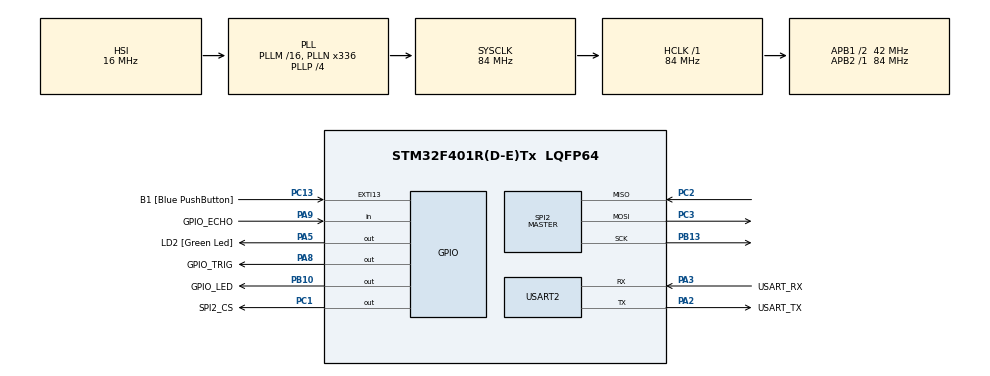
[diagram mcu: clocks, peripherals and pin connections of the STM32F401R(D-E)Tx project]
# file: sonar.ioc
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Mcu.Family=STM32F4
Mcu.Name=STM32F401R(D-E)Tx
Mcu.Package=LQFP64
NVIC.PriorityGroup=NVIC_PRIORITYGROUP_0
PA13.GPIO_Label=TMS
PA13.Mode=Serial_Wire
PA13.Signal=SYS_JTMS-SWDIO
PA14.GPIO_Label=TCK
PA14.Mode=Serial_Wire
PA14.Signal=SYS_JTCK-SWCLK
PA2.GPIO_Label=USART_TX
PA2.GPIO_Mode=GPIO_MODE_AF_PP
PA2.GPIO_PuPd=GPIO_NOPULL
PA2.GPIO_Speed=GPIO_SPEED_FREQ_LOW
PA2.Mode=Asynchronous
PA2.Signal=USART2_TX
PA3.GPIO_Label=USART_RX
PA3.GPIO_Mode=GPIO_MODE_AF_PP
PA3.GPIO_PuPd=GPIO_NOPULL
PA3.GPIO_Speed=GPIO_SPEED_FREQ_LOW
PA3.Mode=Asynchronous
PA3.Signal=USART2_RX
PA5.GPIO_Label=LD2 [Green Led]
PA5.GPIO_Mode=GPIO_MODE_OUTPUT_PP
PA5.GPIO_PuPd=GPIO_NOPULL
PA5.GPIO_Speed=GPIO_SPEED_FREQ_LOW
PA5.Signal=GPIO_Output
PA8.GPIO_Label=GPIO_TRIG
PA8.Signal=GPIO_Output
PA9.GPIO_Label=GPIO_ECHO
PA9.Signal=GPIO_Input
PB10.GPIO_Label=GPIO_LED
PB10.Signal=GPIO_Output
PB13.Mode=Full_Duplex_Master
PB13.Signal=SPI2_SCK
PB3.GPIO_Label=SWO
PB3.Signal=SYS_JTDO-SWO
PC1.GPIO_Label=SPI2_CS
PC1.GPIO_PuPd=GPIO_PULLUP
PC1.Signal=GPIO_Output
PC13-ANTI_TAMP.GPIO_Label=B1 [Blue PushButton]
PC13-ANTI_TAMP.GPIO_ModeDefaultEXTI=GPIO_MODE_IT_FALLING
PC13-ANTI_TAMP.GPIO_PuPd=GPIO_NOPULL
PC13-ANTI_TAMP.Signal=GPXTI13
PC14-OSC32_IN.Mode=LSE-External-Oscillator
PC14-OSC32_IN.Signal=RCC_OSC32_IN
PC15-OSC32_OUT.Mode=LSE-External-Oscillator
PC15-OSC32_OUT.Signal=RCC_OSC32_OUT
PC2.Mode=Full_Duplex_Master
PC2.Signal=SPI2_MISO
PC3.Mode=Full_Duplex_Master
PC3.Signal=SPI2_MOSI
PH0\ -\ OSC_IN.Mode=HSE-External-Clock-Source
PH0\ -\ OSC_IN.Signal=RCC_OSC_IN
PH1\ -\ OSC_OUT.Mode=HSE-External-Clock-Source
PH1\ -\ OSC_OUT.Signal=RCC_OSC_OUT
ProjectManager.HeapSize=0x200
ProjectManager.StackSize=0x400
ProjectManager.TargetToolchain=STM32CubeIDE
RCC.48MHZClocksFreq_Value=48000000
RCC.AHBFreq_Value=84000000
RCC.APB1CLKDivider=RCC_HCLK_DIV2
RCC.APB1Freq_Value=42000000
RCC.APB1TimFreq_Value=84000000
RCC.APB2Freq_Value=84000000
RCC.APB2TimFreq_Value=84000000
RCC.CortexFreq_Value=84000000
RCC.HCLKFreq_Value=84000000
RCC.HSE_VALUE=8000000
RCC.HSI_VALUE=16000000
RCC.PLLN=336
RCC.PLLP=RCC_PLLP_DIV4
RCC.PLLQ=7
RCC.SYSCLKFreq_VALUE=84000000
RCC.SYSCLKSource=RCC_SYSCLKSOURCE_PLLCLK
RCC.VCOOutputFreq_Value=336000000
SPI2.BaudRatePrescaler=SPI_BAUDRATEPRESCALER_32
SPI2.CLKPhase=SPI_PHASE_2EDGE
SPI2.CLKPolarity=SPI_POLARITY_HIGH
SPI2.Direction=SPI_DIRECTION_2LINES
SPI2.Mode=SPI_MODE_MASTER
SPI2.VirtualType=VM_MASTER
TIM1.Prescaler=83
USART2.VirtualMode=VM_ASYNC
VP_TIM1_VS_ClockSourceINT.Mode=Internal
board=NUCLEO-F401RE

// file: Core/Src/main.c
/* USER CODE BEGIN Header */
/**
  ******************************************************************************
  * @file           : main.c
  * @brief          : Main program body
  ******************************************************************************
  * @attention
  *
  * Copyright (c) 2022 STMicroelectronics.
  * All rights reserved.
  *
  * This software is licensed under terms that can be found in the LICENSE file
  * in the root directory of this software component.
  * If no LICENSE file comes with this software, it is provided AS-IS.
  *
  ******************************************************************************
  */
/* USER CODE END Header */
#include "main.h"

SPI_HandleTypeDef hspi2;

TIM_HandleTypeDef htim1;

UART_HandleTypeDef huart2;

void SystemClock_Config(void);
static void MX_GPIO_Init(void);
static void MX_USART2_UART_Init(void);
static void MX_TIM1_Init(void);
static void MX_SPI2_Init(void);

/* USER CODE BEGIN 0 */
void Print(char* msg)
{
	 HAL_UART_Transmit(&huart2, (const uint8_t *)msg, strlen(msg), 10);

}
/* USER CODE END 0 */

int main(void)
{
  /* USER CODE BEGIN 1 */
#define TRIG_PIN GPIO_TRIG_Pin
#define TRIG_PORT GPIOA
#define ECHO_PIN GPIO_ECHO_Pin
#define ECHO_PORT GPIO_ECHO_GPIO_Port
uint32_t pMillis;
uint32_t Value1 = 0;
uint32_t Value2 = 0;
uint16_t Distance = 0;  // cm
uint16_t led = 0xffff;  // cm

  /* USER CODE END 1 */

  /* MCU Configuration--------------------------------------------------------*/

  /* Reset of all peripherals, Initializes the Flash interface and the Systick. */
  HAL_Init();

  /* Configure the system clock */
  SystemClock_Config();

  /* Initialize all configured peripherals */
  MX_GPIO_Init();
  MX_USART2_UART_Init();
  MX_TIM1_Init();
  MX_SPI2_Init();
  /* USER CODE BEGIN 2 */
  char msg[64] = "here is jon's sonar\r\n";
  Print(msg);

  HAL_TIM_Base_Start(&htim1);
  HAL_GPIO_WritePin(TRIG_PORT, TRIG_PIN, GPIO_PIN_RESET);

  /* USER CODE END 2 */

  /* Infinite loop */
  /* USER CODE BEGIN WHILE */
  while (1)
  {
	  HAL_GPIO_WritePin(TRIG_PORT, TRIG_PIN, GPIO_PIN_SET);  // pull the TRIG pin HIGH
	  __HAL_TIM_SET_COUNTER(&htim1, 0);
	  while (__HAL_TIM_GET_COUNTER (&htim1) < 10);  // wait for 10 us
	  HAL_GPIO_WritePin(TRIG_PORT, TRIG_PIN, GPIO_PIN_RESET);  // pull the TRIG pin low

	  pMillis = HAL_GetTick(); // used this to avoid infinite while loop  (for timeout)
	  // wait for the echo pin to go high
	  while (!(HAL_GPIO_ReadPin (ECHO_PORT, ECHO_PIN)) && pMillis + 10 >  HAL_GetTick());
	  Value1 = __HAL_TIM_GET_COUNTER (&htim1);

	  pMillis = HAL_GetTick(); // used this to avoid infinite while loop (for timeout)
	  // wait for the echo pin to go low
	  while ((HAL_GPIO_ReadPin (ECHO_PORT, ECHO_PIN)) && pMillis + 50 > HAL_GetTick());
	  Value2 = __HAL_TIM_GET_COUNTER (&htim1);

	  Distance = (Value2-Value1)* 0.034/2;
	  sprintf(msg, "Distance: %d\r\n", Distance);
	  Print(msg);
	  HAL_Delay(50);

	  if (Distance < 20){
		  HAL_GPIO_WritePin(SPI2_CS_GPIO_Port, SPI2_CS_Pin, GPIO_PIN_RESET);
		  led = 0xffff/2;
		  HAL_SPI_Transmit(&hspi2, &led, 2, 100);
		  HAL_GPIO_WritePin(SPI2_CS_GPIO_Port, SPI2_CS_Pin, GPIO_PIN_SET);
	  }
	  else{
		  HAL_GPIO_WritePin(SPI2_CS_GPIO_Port, SPI2_CS_Pin, GPIO_PIN_RESET);
		  led = 0;
		  HAL_SPI_Transmit(&hspi2, &led, 2, 100);
		  HAL_GPIO_WritePin(SPI2_CS_GPIO_Port, SPI2_CS_Pin, GPIO_PIN_SET);
	  }

    /* USER CODE END WHILE */

  }
}

void SystemClock_Config(void)
{
  RCC_OscInitTypeDef RCC_OscInitStruct = {0};
  RCC_ClkInitTypeDef RCC_ClkInitStruct = {0};

  /** Configure the main internal regulator output voltage
  */
  __HAL_RCC_PWR_CLK_ENABLE();
  __HAL_PWR_VOLTAGESCALING_CONFIG(PWR_REGULATOR_VOLTAGE_SCALE2);

  /** Initializes the RCC Oscillators according to the specified parameters
  * in the RCC_OscInitTypeDef structure.
  */
  RCC_OscInitStruct.OscillatorType = RCC_OSCILLATORTYPE_HSI;
  RCC_OscInitStruct.HSIState = RCC_HSI_ON;
  RCC_OscInitStruct.HSICalibrationValue = RCC_HSICALIBRATION_DEFAULT;
  RCC_OscInitStruct.PLL.PLLState = RCC_PLL_ON;
  RCC_OscInitStruct.PLL.PLLSource = RCC_PLLSOURCE_HSI;
  RCC_OscInitStruct.PLL.PLLM = 16;
  RCC_OscInitStruct.PLL.PLLN = 336;
  RCC_OscInitStruct.PLL.PLLP = RCC_PLLP_DIV4;
  RCC_OscInitStruct.PLL.PLLQ = 7;
  if (HAL_RCC_OscConfig(&RCC_OscInitStruct) != HAL_OK)
  {
    Error_Handler();
  }

  /** Initializes the CPU, AHB and APB buses clocks
  */
  RCC_ClkInitStruct.ClockType = RCC_CLOCKTYPE_HCLK|RCC_CLOCKTYPE_SYSCLK
                              |RCC_CLOCKTYPE_PCLK1|RCC_CLOCKTYPE_PCLK2;
  RCC_ClkInitStruct.SYSCLKSource = RCC_SYSCLKSOURCE_PLLCLK;
  RCC_ClkInitStruct.AHBCLKDivider = RCC_SYSCLK_DIV1;
  RCC_ClkInitStruct.APB1CLKDivider = RCC_HCLK_DIV2;
  RCC_ClkInitStruct.APB2CLKDivider = RCC_HCLK_DIV1;

  if (HAL_RCC_ClockConfig(&RCC_ClkInitStruct, FLASH_LATENCY_2) != HAL_OK)
  {
    Error_Handler();
  }
}

static void MX_SPI2_Init(void)
{

  /* SPI2 parameter configuration*/
  hspi2.Instance = SPI2;
  hspi2.Init.Mode = SPI_MODE_MASTER;
  hspi2.Init.Direction = SPI_DIRECTION_2LINES;
  hspi2.Init.DataSize = SPI_DATASIZE_8BIT;
  hspi2.Init.CLKPolarity = SPI_POLARITY_HIGH;
  hspi2.Init.CLKPhase = SPI_PHASE_2EDGE;
  hspi2.Init.NSS = SPI_NSS_SOFT;
  hspi2.Init.BaudRatePrescaler = SPI_BAUDRATEPRESCALER_32;
  hspi2.Init.FirstBit = SPI_FIRSTBIT_MSB;
  hspi2.Init.TIMode = SPI_TIMODE_DISABLE;
  hspi2.Init.CRCCalculation = SPI_CRCCALCULATION_DISABLE;
  hspi2.Init.CRCPolynomial = 10;
  if (HAL_SPI_Init(&hspi2) != HAL_OK)
  {
    Error_Handler();
  }

}

static void MX_TIM1_Init(void)
{

  TIM_ClockConfigTypeDef sClockSourceConfig = {0};
  TIM_MasterConfigTypeDef sMasterConfig = {0};

  htim1.Instance = TIM1;
  htim1.Init.Prescaler = 83;
  htim1.Init.CounterMode = TIM_COUNTERMODE_UP;
  htim1.Init.Period = 65535;
  htim1.Init.ClockDivision = TIM_CLOCKDIVISION_DIV1;
  htim1.Init.RepetitionCounter = 0;
  htim1.Init.AutoReloadPreload = TIM_AUTORELOAD_PRELOAD_DISABLE;
  if (HAL_TIM_Base_Init(&htim1) != HAL_OK)
  {
    Error_Handler();
  }
  sClockSourceConfig.ClockSource = TIM_CLOCKSOURCE_INTERNAL;
  if (HAL_TIM_ConfigClockSource(&htim1, &sClockSourceConfig) != HAL_OK)
  {
    Error_Handler();
  }
  sMasterConfig.MasterOutputTrigger = TIM_TRGO_RESET;
  sMasterConfig.MasterSlaveMode = TIM_MASTERSLAVEMODE_DISABLE;
  if (HAL_TIMEx_MasterConfigSynchronization(&htim1, &sMasterConfig) != HAL_OK)
  {
    Error_Handler();
  }

}

static void MX_USART2_UART_Init(void)
{

  huart2.Instance = USART2;
  huart2.Init.BaudRate = 115200;
  huart2.Init.WordLength = UART_WORDLENGTH_8B;
  huart2.Init.StopBits = UART_STOPBITS_1;
  huart2.Init.Parity = UART_PARITY_NONE;
  huart2.Init.Mode = UART_MODE_TX_RX;
  huart2.Init.HwFlowCtl = UART_HWCONTROL_NONE;
  huart2.Init.OverSampling = UART_OVERSAMPLING_16;
  if (HAL_UART_Init(&huart2) != HAL_OK)
  {
    Error_Handler();
  }

}

static void MX_GPIO_Init(void)
{
  GPIO_InitTypeDef GPIO_InitStruct = {0};

  /* GPIO Ports Clock Enable */
  __HAL_RCC_GPIOC_CLK_ENABLE();
  __HAL_RCC_GPIOH_CLK_ENABLE();
  __HAL_RCC_GPIOA_CLK_ENABLE();
  __HAL_RCC_GPIOB_CLK_ENABLE();

  /*Configure GPIO pin Output Level */
  HAL_GPIO_WritePin(SPI2_CS_GPIO_Port, SPI2_CS_Pin, GPIO_PIN_RESET);

  /*Configure GPIO pin Output Level */
  HAL_GPIO_WritePin(GPIOA, LD2_Pin|GPIO_TRIG_Pin, GPIO_PIN_RESET);

  /*Configure GPIO pin Output Level */
  HAL_GPIO_WritePin(GPIO_LED_GPIO_Port, GPIO_LED_Pin, GPIO_PIN_RESET);

  /*Configure GPIO pin : B1_Pin */
  GPIO_InitStruct.Pin = B1_Pin;
  GPIO_InitStruct.Mode = GPIO_MODE_IT_FALLING;
  GPIO_InitStruct.Pull = GPIO_NOPULL;
  HAL_GPIO_Init(B1_GPIO_Port, &GPIO_InitStruct);

  /*Configure GPIO pin : SPI2_CS_Pin */
  GPIO_InitStruct.Pin = SPI2_CS_Pin;
  GPIO_InitStruct.Mode = GPIO_MODE_OUTPUT_PP;
  GPIO_InitStruct.Pull = GPIO_PULLUP;
  GPIO_InitStruct.Speed = GPIO_SPEED_FREQ_LOW;
  HAL_GPIO_Init(SPI2_CS_GPIO_Port, &GPIO_InitStruct);

  /*Configure GPIO pins : LD2_Pin GPIO_TRIG_Pin */
  GPIO_InitStruct.Pin = LD2_Pin|GPIO_TRIG_Pin;
  GPIO_InitStruct.Mode = GPIO_MODE_OUTPUT_PP;
  GPIO_InitStruct.Pull = GPIO_NOPULL;
  GPIO_InitStruct.Speed = GPIO_SPEED_FREQ_LOW;
  HAL_GPIO_Init(GPIOA, &GPIO_InitStruct);

  /*Configure GPIO pin : GPIO_LED_Pin */
  GPIO_InitStruct.Pin = GPIO_LED_Pin;
  GPIO_InitStruct.Mode = GPIO_MODE_OUTPUT_PP;
  GPIO_InitStruct.Pull = GPIO_NOPULL;
  GPIO_InitStruct.Speed = GPIO_SPEED_FREQ_LOW;
  HAL_GPIO_Init(GPIO_LED_GPIO_Port, &GPIO_InitStruct);

  /*Configure GPIO pin : GPIO_ECHO_Pin */
  GPIO_InitStruct.Pin = GPIO_ECHO_Pin;
  GPIO_InitStruct.Mode = GPIO_MODE_INPUT;
  GPIO_InitStruct.Pull = GPIO_NOPULL;
  HAL_GPIO_Init(GPIO_ECHO_GPIO_Port, &GPIO_InitStruct);

}

void Error_Handler(void)
{
  __disable_irq();
  while (1)
  {
  }
}
